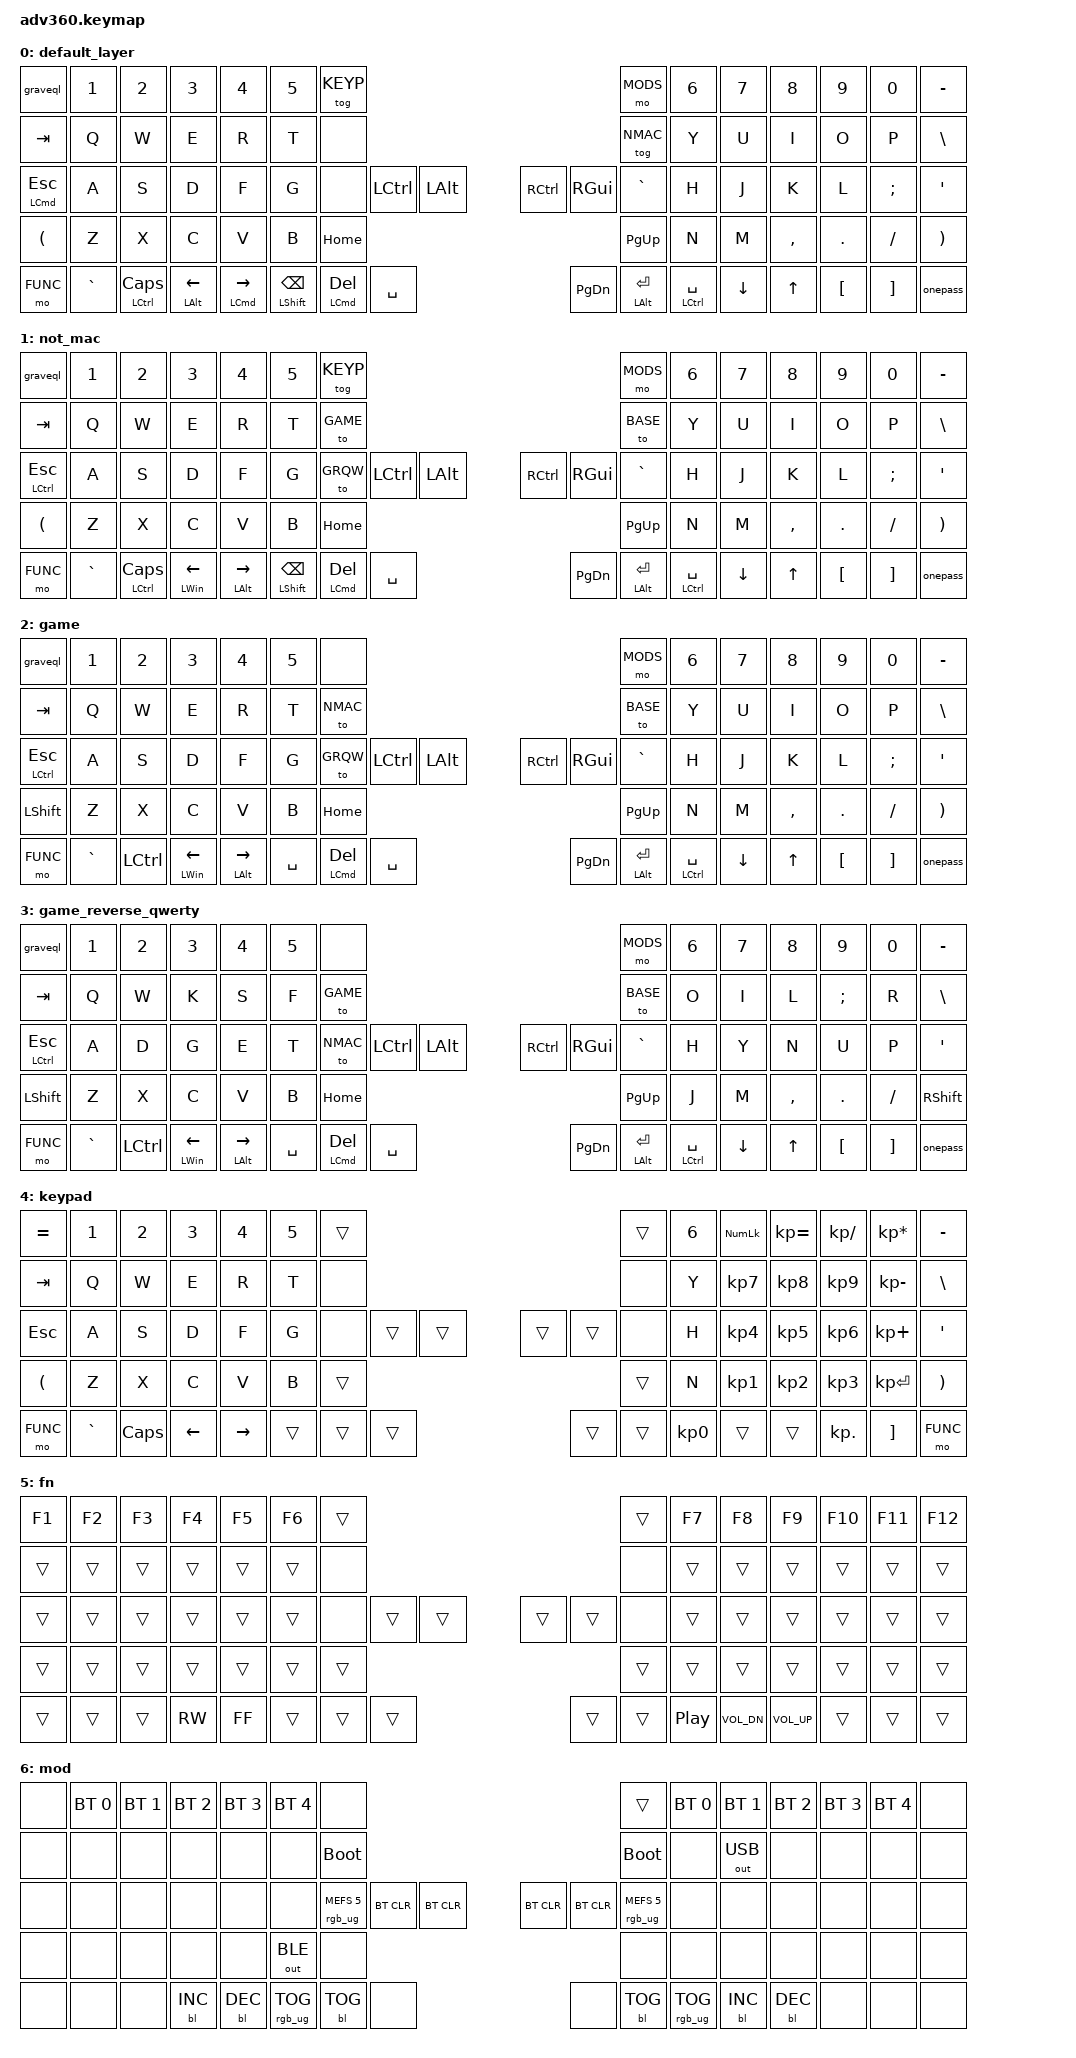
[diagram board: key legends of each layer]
/* -*- mode: c -*- */

#include <behaviors.dtsi>
#include <dt-bindings/zmk/keys.h>
#include <dt-bindings/zmk/bt.h>
#include <dt-bindings/zmk/rgb.h>
#include <dt-bindings/zmk/backlight.h>
#include <dt-bindings/zmk/outputs.h>

// Layers
#define BASE 0
#define NMAC 1
#define GAME 2
#define GRQW 3
#define KEYP 4
#define FUNC 5
#define MODS 6

#define XXX &none
#define ___ &trans

#define COMBO(k1, k2, bind) combo_ ## k1 ## _ ## k2 { \
bindings = <&kp bind>; key-positions = <k1 k2>; timeout-ms = <30>; layers = <0 1>; }

#define SLEEP LC(LG(Q))

/ {
  behaviors {
    #include "macros.dtsi"
    #include "version.dtsi"
    #ifndef VERSION_MACRO
    macro_ver: macro_ver {
      compatible = "zmk,behavior-macro";
      label = "macro_version";
      #binding-cells = <0>;
      bindings = <&kp RET>;
    };
    #endif

    hm: homerow_mods {
      compatible = "zmk,behavior-hold-tap";
      label = "HOMEROW_MODS";
      #binding-cells = <2>;
      tapping-term-ms = <200>;
      quick_tap_ms = <175>;
      flavor = "tap-preferred";
      bindings = <&kp>, <&kp>;
    };

    mtt: mod_tap_preferred {
      compatible = "zmk,behavior-hold-tap";
      label = "MOD_TAP_PREFERRED";
      #binding-cells = <2>;
      tapping-term-ms = <170>;
      quick-tap-ms = <200>;
      retro-tap;
      flavor = "tap-preferred";
      bindings = <&kp>, <&kp>;
    };

    onepass: 1password_tap_dance {
      compatible = "zmk,behavior-tap-dance";
      label = "1P_TAP_DANCE";
      #binding-cells = <0>;
      tapping-term-ms = <300>;
      bindings = <&kp LG(LA(FSLH))>, <&kp LG(BSLH)>;
    };

    graveql: grave_equal {
      compatible = "zmk,behavior-mod-morph";
      #binding-cells = <0>;
      bindings = <&kp EQUAL>, <&kp GRAVE>;
      mods = <(MOD_LCTL)>;
    };
  };

  combos {
    compatible = "zmk,combos";
    COMBO(16, 17, LC(TAB));
    COMBO(12, 13, SLEEP);
  };

  keymap {
    compatible = "zmk,keymap";

    default_layer {
      bindings = <
        &graveql  &kp N1    &kp N2        &kp N3        &kp N4     &kp N5 &tog KEYP                                                          &mo MODS  &kp N6   &kp N7   &kp N8    &kp N9   &kp N0   &kp MINUS
        &kp TAB   &kp Q     &kp W         &kp E         &kp R      &kp T  XXX                                                                &tog NMAC &kp Y    &kp U    &kp I     &kp O    &kp P    &kp BSLH
   &mt LCMD ESC   &kp A     &kp S         &kp D         &kp F      &kp G  XXX       &kp LCTRL &kp LALT             &kp RCTRL &kp RGUI        &kp GRAVE &kp H    &kp J    &kp K     &kp L    &kp SEMI &kp SQT
        &kp LPAR  &kp Z     &kp X         &kp C         &kp V      &kp B                      &kp HOME             &kp PG_UP                           &kp N    &kp M    &kp COMMA &kp DOT  &kp FSLH &kp RPAR
        &mo FUNC  &kp GRAVE &mt LCTRL CAPS &mt LALT LEFT &mt LCMD RIGHT        &mt LSHFT BSPC &mt LCMD DEL &kp SPACE &kp PG_DN &mt LALT ENTER &mtt LCTRL SPACE  &kp DOWN &kp UP    &kp LBKT &kp RBKT &onepass
      >;
    };

    not_mac {
      bindings = <
        &graveql  &kp N1    &kp N2        &kp N3        &kp N4     &kp N5 &tog KEYP                                                          &mo MODS  &kp N6   &kp N7   &kp N8    &kp N9   &kp N0   &kp MINUS
        &kp TAB   &kp Q     &kp W         &kp E         &kp R      &kp T  &to GAME                                                           &to BASE  &kp Y    &kp U    &kp I     &kp O    &kp P    &kp BSLH
   &mt LCTRL ESC  &kp A     &kp S         &kp D         &kp F      &kp G  &to GRQW  &kp LCTRL &kp LALT             &kp RCTRL &kp RGUI        &kp GRAVE &kp H    &kp J    &kp K     &kp L    &kp SEMI &kp SQT
        &kp LPAR  &kp Z     &kp X         &kp C         &kp V      &kp B                      &kp HOME             &kp PG_UP                           &kp N    &kp M    &kp COMMA &kp DOT  &kp FSLH &kp RPAR
        &mo FUNC  &kp GRAVE &mt LCTRL CAPS &mt LWIN LEFT &mt LALT RIGHT        &mt LSHFT BSPC &mt LCMD DEL &kp SPACE &kp PG_DN &mt LALT ENTER &mtt LCTRL SPACE  &kp DOWN &kp UP    &kp LBKT &kp RBKT &onepass
      >;
    };

    game {
      bindings = <
        &graveql  &kp N1    &kp N2    &kp N3        &kp N4     &kp N5 XXX                                                                &mo MODS  &kp N6   &kp N7   &kp N8    &kp N9   &kp N0   &kp MINUS
        &kp TAB   &kp Q     &kp W     &kp E         &kp R      &kp T  &to NMAC                                                           &to BASE  &kp Y    &kp U    &kp I     &kp O    &kp P    &kp BSLH
   &mt LCTRL ESC  &kp A     &kp S     &kp D         &kp F      &kp G  &to GRQW  &kp LCTRL &kp LALT             &kp RCTRL &kp RGUI        &kp GRAVE &kp H    &kp J    &kp K     &kp L    &kp SEMI &kp SQT
        &kp LSHFT &kp Z     &kp X     &kp C         &kp V      &kp B                      &kp HOME             &kp PG_UP                           &kp N    &kp M    &kp COMMA &kp DOT  &kp FSLH &kp RPAR
        &mo FUNC  &kp GRAVE &kp LCTRL &mt LWIN LEFT &mt LALT RIGHT             &kp SPACE &mt LCMD DEL &kp SPACE &kp PG_DN &mt LALT ENTER &mtt LCTRL SPACE  &kp DOWN &kp UP    &kp LBKT &kp RBKT &onepass
      >;
    };

    game_reverse_qwerty {
      bindings = <
        &graveql  &kp N1    &kp N2    &kp N3        &kp N4     &kp N5 XXX                                                                &mo MODS  &kp N6   &kp N7   &kp N8    &kp N9   &kp N0   &kp MINUS
        &kp TAB   &kp Q     &kp W     &kp K         &kp S      &kp F  &to GAME                                                           &to BASE  &kp O    &kp I    &kp L     &kp SEMI &kp R    &kp BSLH
   &mt LCTRL ESC  &kp A     &kp D     &kp G         &kp E      &kp T  &to NMAC  &kp LCTRL &kp LALT             &kp RCTRL &kp RGUI        &kp GRAVE &kp H    &kp Y    &kp N     &kp U    &kp P    &kp SQT
        &kp LSHFT &kp Z     &kp X     &kp C         &kp V      &kp B                      &kp HOME             &kp PG_UP                           &kp J    &kp M    &kp COMMA &kp DOT  &kp FSLH &kp RSHFT
        &mo FUNC  &kp GRAVE &kp LCTRL &mt LWIN LEFT &mt LALT  RIGHT            &kp SPACE &mt LCMD DEL &kp SPACE &kp PG_DN &mt LALT ENTER &mtt LCTRL SPACE  &kp DOWN &kp UP    &kp LBKT &kp RBKT &onepass
      >;
    };

    keypad {
      bindings = <
        &kp EQUAL &kp N1    &kp N2   &kp N3   &kp N4    &kp N5 ___                                ___ &kp N6 &kp KP_NUM &kp KP_EQUAL &kp KP_DIVIDE &kp KP_MULTIPLY &kp MINUS
        &kp TAB   &kp Q     &kp W    &kp E    &kp R     &kp T  XXX                                XXX &kp Y  &kp KP_N7  &kp KP_N8    &kp KP_N9     &kp KP_MINUS    &kp BSLH
        &kp ESC   &kp A     &kp S    &kp D    &kp F     &kp G  XXX     ___ ___ ___ ___            XXX &kp H  &kp KP_N4  &kp KP_N5    &kp KP_N6     &kp KP_PLUS     &kp SQT
        &kp LPAR  &kp Z     &kp X    &kp C    &kp V     &kp B              ___ ___                    &kp N  &kp KP_N1  &kp KP_N2    &kp KP_N3     &kp KP_ENTER    &kp RPAR
        &mo FUNC  &kp GRAVE &kp CAPS &kp LEFT &kp RIGHT            ___ ___ ___ ___ ___  &kp KP_N0            ___        ___          &kp KP_DOT    &kp RBKT        &mo FUNC
      >;
    };
    fn {
      bindings = <
        &kp F1 &kp F2 &kp F3 &kp F4   &kp F5 &kp F6 ___                          ___   &kp F7 &kp F8                    &kp F9 &kp F10 &kp F11 &kp F12
        ___    ___    ___    ___      ___    ___    XXX                          XXX   ___    ___                       ___    ___     ___     ___
        ___    ___    ___    ___      ___    ___    XXX      ___ ___ ___ ___     XXX   ___    ___                       ___    ___     ___     ___
        ___    ___    ___    ___      ___    ___                 ___ ___               ___    ___                       ___    ___     ___     ___
        ___    ___    ___    &kp C_RW &kp C_FF           ___ ___ ___ ___ ___ &kp C_PLAY_PAUSE &kp C_VOL_DN &kp C_VOL_UP ___    ___     ___
      >;
    };
    mod {
      bindings = <
        XXX   &bt BT_SEL 0 &bt BT_SEL 1 &bt BT_SEL 2 &bt BT_SEL 3 &bt BT_SEL 4 XXX                                                                 &trans                 &bt BT_SEL 0 &bt BT_SEL 1 &bt BT_SEL 2 &bt BT_SEL 3 &bt BT_SEL 4 XXX
        XXX   XXX          XXX          XXX          XXX          XXX          &bootloader                                                         &bootloader            XXX          &out OUT_USB XXX          XXX          XXX          XXX
        XXX   XXX          XXX          XXX          XXX          XXX          &rgb_ug RGB_MEFS_CMD 5  &bt BT_CLR &bt BT_CLR &bt BT_CLR &bt BT_CLR &rgb_ug RGB_MEFS_CMD 5 XXX          XXX          XXX          XXX          XXX          XXX
        XXX   XXX          XXX          XXX          XXX          &out OUT_BLE                                    XXX        XXX                                          XXX          XXX          XXX          XXX          XXX          XXX
        XXX   XXX          XXX          &bl BL_INC   &bl BL_DEC                        &rgb_ug RGB_TOG &bl BL_TOG XXX        XXX        &bl BL_TOG &rgb_ug RGB_TOG                     &bl BL_INC   &bl BL_DEC   XXX          XXX          XXX
      >;
    };
  };
};
